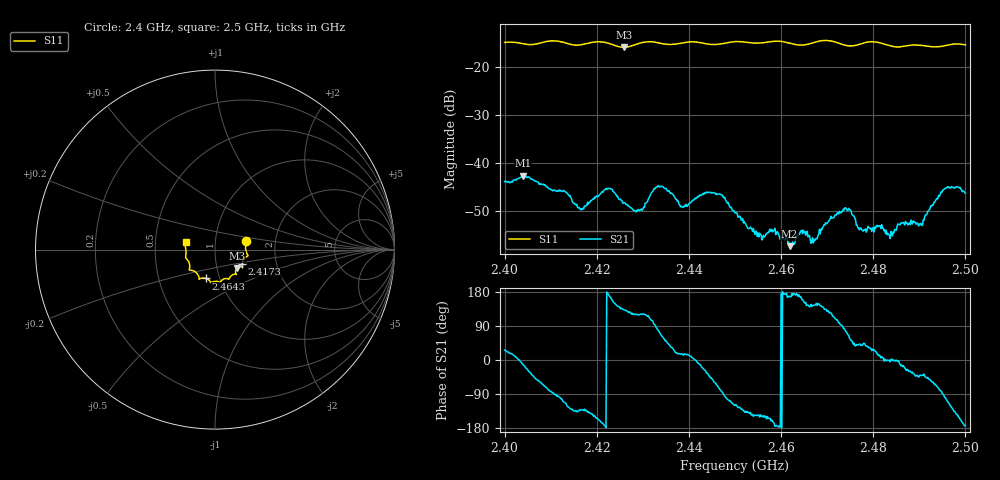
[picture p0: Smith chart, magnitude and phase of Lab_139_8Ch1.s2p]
# Hz S RI R 50
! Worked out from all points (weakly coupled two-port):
!   601 points, 2.4 GHz to 2.5 GHz, reference 50 ohm
!   highest |S21| = -42.71 dB at 2.404 GHz (marker M1); lowest = -57.4 dB at 2.4618 GHz (marker M2)
!   lowest |S11| = -15.9 dB at 2.4258 GHz (marker M3), VSWR 1.38, Z = 62.3 - j13.2 ohm
!   |S11| at or under -10 dB: start of sweep to end of sweep
!   S12 and S22 are empty: the file has one direction only
!   S11 on the Smith chart (normalised r, x): 2.4 GHz: 1.41, +0.14; 2.4173 GHz: 1.34, -0.23; 2.4643 GHz: 0.86, -0.29; 2.5 GHz: 0.72, +0.06
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2.4e9  0.1731 0.0487  0.00571 0.0028  0 0  0 0
2.404e9  0.1722 0.025  0.00716 -0.00153  0 0  0 0
2.416667e9  0.153 -0.0741  -0.0022 -0.00248  0 0  0 0
2.417333e9  0.1519 -0.0817  -0.00226 -0.00272  0 0  0 0
2.4225e9  0.149 -0.0945  -0.0054 0.000529  0 0  0 0
2.425833e9  0.1218 -0.1034  -0.00262 0.00283  0 0  0 0
2.429667e9  0.1164 -0.1346  -0.00168 0.00285  0 0  0 0
2.433333e9  0.1132 -0.1371  0.00117 0.00568  0 0  0 0
2.438667e9  0.0807 -0.1581  0.00331 0.000871  0 0  0 0
2.446667e9  0.0426 -0.1671  0.00104 -0.00462  0 0  0 0
2.45e9  0.029 -0.1808  -0.00148 -0.00261  0 0  0 0
2.455333e9  -0.000878 -0.177  -0.0016 -0.000908  0 0  0 0
2.458167e9  -0.0198 -0.1829  -0.00181 -0.000609  0 0  0 0
2.461833e9  -0.0295 -0.1741  -0.00132 0.000296  0 0  0 0
2.464333e9  -0.0498 -0.1609  -0.00191 0.000475  0 0  0 0
2.466667e9  -0.0758 -0.1593  -0.00118 0.000945  0 0  0 0
2.474167e9  -0.0985 -0.1346  0.00088 0.00319  0 0  0 0
2.477333e9  -0.1295 -0.1157  0.00164 0.00129  0 0  0 0
2.483333e9  -0.1408 -0.09  0.0018 -3.62e-05  0 0  0 0
2.490333e9  -0.1631 -0.0387  0.00178 -0.00151  0 0  0 0
2.495667e9  -0.1658 0.0166  -0.000918 -0.00537  0 0  0 0
2.5e9  -0.1641 0.0429  -0.00479 -0.000574  0 0  0 0
